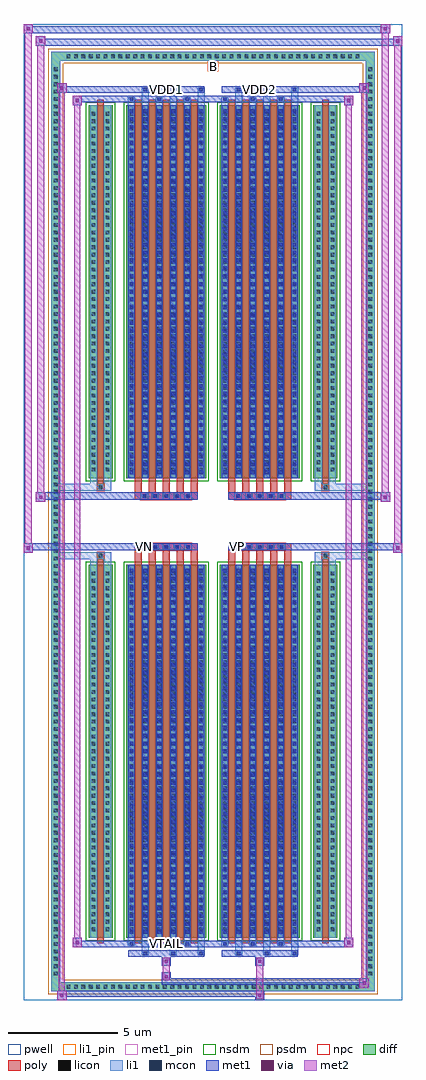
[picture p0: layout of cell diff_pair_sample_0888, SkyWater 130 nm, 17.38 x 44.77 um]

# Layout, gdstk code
import gdstk
lib = gdstk.Library(unit=1e-6, precision=5e-09)
def R(c, l, rs):  # rectangles x0, y0, x1, y1
    for r in rs: c.add(gdstk.rectangle(r[:2], r[2:], *l))
def A(c, l, x, y, w, h, nx, ny, dx, dy):  # array of equal rectangles
    R(c, l, [(x+i*dx, y+j*dy, x+i*dx+w, y+j*dy+h) for i in range(nx) for j in range(ny)])
def P(c, l, *ps):  # polygons
    for p in ps: c.add(gdstk.Polygon(p, *l))
pwell = (64, 44)
diff = (65, 20)
poly = (66, 20)
licon = (66, 44)
li1_pin = (67, 16)
li1 = (67, 20)
mcon = (67, 44)
met1_pin = (68, 16)
met1 = (68, 20)
via = (68, 44)
met2 = (69, 20)
nsdm = (93, 44)
psdm = (94, 20)
npc = (95, 20)

diff_pair_sample_0888 = lib.new_cell('diff_pair_sample_0888')
R(diff_pair_sample_0888, pwell, [(-8.69,-21.95,8.69,22.82), (-6.01,-20.14,-0.01,-0.8), (0.01,-20.14,6.01,-0.8), (-6.01,0.8,-0.01,20.14), (0.01,0.8,6.01,20.14)])
A(diff_pair_sample_0888, diff, -6.835, -21.55, 0.41, 0.41, 40, 2, 0.34, 42.69)
A(diff_pair_sample_0888, diff, -7.42, -20.945, 0.41, 0.41, 1, 123, 0, 0.34)
A(diff_pair_sample_0888, diff, 7.01, -20.945, 0.41, 0.41, 1, 123, 0, 0.34)
R(diff_pair_sample_0888, diff, [(-6.835,-21.55,6.835,-21.14), (-7.42,-20.945,-7.01,20.945), (7.01,-20.945,7.42,20.945), (-5.7,-19.095,-4.61,-1.985), (-3.97,-19.095,-0.32,-1.985), (0.32,-19.095,3.97,-1.985), (4.61,-19.095,5.7,-1.985), (-5.7,1.985,-4.61,19.095), (-3.97,1.985,-0.32,19.095), (0.32,1.985,3.97,19.095), (4.61,1.985,5.7,19.095), (-6.835,21.14,6.835,21.55)])
P(diff_pair_sample_0888, diff, [(7.42,21.55),(-7.42,21.55),(-7.42,-21.14),(-7.01,-21.14),(-7.01,21.14),(7.01,21.14),(7.01,-21.14),(-7.01,-21.14),(-7.42,-21.14),(-7.42,-21.55),(7.42,-21.55)])
A(diff_pair_sample_0888, poly, -3.58, -19.345, 0.31, 17.61, 5, 2, 0.64, 21.08)
A(diff_pair_sample_0888, poly, 0.71, -19.345, 0.31, 17.61, 5, 2, 0.64, 21.08)
A(diff_pair_sample_0888, poly, -3.58, -1.735, 0.31, 0.405, 5, 2, 0.64, 3.065)
A(diff_pair_sample_0888, poly, 0.71, -1.735, 0.31, 0.405, 5, 2, 0.64, 3.065)
A(diff_pair_sample_0888, poly, -3.31, -1.33, 0.33, 0.33, 5, 2, 0.5, 2.33)
A(diff_pair_sample_0888, poly, 0.98, -1.33, 0.33, 0.33, 5, 2, 0.5, 2.33)
R(diff_pair_sample_0888, poly, [(-5.31,-19.345,-5,-1.735), (5,-19.345,5.31,-1.735), (-5.32,-1.735,-4.99,-1.405), (-5.32,-1.735,-4.99,-1.405), (4.99,-1.735,5.32,-1.405), (4.99,-1.735,5.32,-1.405), (-3.58,-1.33,-0.71,-1), (0.71,-1.33,3.58,-1), (-3.58,1,-0.71,1.33), (0.71,1,3.58,1.33), (-5.32,1.405,-4.99,1.735), (-5.32,1.405,-4.99,1.735), (4.99,1.405,5.32,1.735), (4.99,1.405,5.32,1.735), (-5.31,1.735,-5,19.345), (5,1.735,5.31,19.345)])
A(diff_pair_sample_0888, licon, -6.715, -21.43, 0.17, 0.17, 40, 2, 0.34, 42.69)
A(diff_pair_sample_0888, licon, -7.3, -20.825, 0.17, 0.17, 1, 123, 0, 0.34)
A(diff_pair_sample_0888, licon, 7.13, -20.825, 0.17, 0.17, 1, 123, 0, 0.34)
A(diff_pair_sample_0888, licon, -5.56, -18.785, 0.17, 0.17, 1, 49, 0, 0.34)
A(diff_pair_sample_0888, licon, -4.92, -18.785, 0.17, 0.17, 1, 49, 0, 0.34)
A(diff_pair_sample_0888, licon, -3.83, -18.785, 0.17, 0.17, 6, 49, 0.64, 0.34)
A(diff_pair_sample_0888, licon, 0.46, -18.785, 0.17, 0.17, 6, 49, 0.64, 0.34)
A(diff_pair_sample_0888, licon, 4.75, -18.785, 0.17, 0.17, 1, 49, 0, 0.34)
A(diff_pair_sample_0888, licon, 5.39, -18.785, 0.17, 0.17, 1, 49, 0, 0.34)
A(diff_pair_sample_0888, licon, -3.23, -1.25, 0.17, 0.17, 5, 2, 0.5, 2.33)
A(diff_pair_sample_0888, licon, 1.06, -1.25, 0.17, 0.17, 5, 2, 0.5, 2.33)
A(diff_pair_sample_0888, licon, -5.56, 2.295, 0.17, 0.17, 1, 49, 0, 0.34)
A(diff_pair_sample_0888, licon, -4.92, 2.295, 0.17, 0.17, 1, 49, 0, 0.34)
A(diff_pair_sample_0888, licon, -3.83, 2.295, 0.17, 0.17, 6, 49, 0.64, 0.34)
A(diff_pair_sample_0888, licon, 0.46, 2.295, 0.17, 0.17, 6, 49, 0.64, 0.34)
A(diff_pair_sample_0888, licon, 4.75, 2.295, 0.17, 0.17, 1, 49, 0, 0.34)
A(diff_pair_sample_0888, licon, 5.39, 2.295, 0.17, 0.17, 1, 49, 0, 0.34)
R(diff_pair_sample_0888, licon, [(-5.24,-1.655,-5.07,-1.485), (5.07,-1.655,5.24,-1.485), (-5.24,1.485,-5.07,1.655), (5.07,1.485,5.24,1.655)])
R(diff_pair_sample_0888, li1_pin, [(-0.25,20.64,0.25,21.14)])
A(diff_pair_sample_0888, li1, -6.795, -21.51, 0.33, 0.33, 40, 2, 0.34, 42.69)
A(diff_pair_sample_0888, li1, -7.38, -20.905, 0.33, 0.33, 1, 123, 0, 0.34)
A(diff_pair_sample_0888, li1, 7.05, -20.905, 0.33, 0.33, 1, 123, 0, 0.34)
A(diff_pair_sample_0888, li1, -3.27, -19.9, 0.33, 0.805, 3, 2, 1.28, 38.995)
A(diff_pair_sample_0888, li1, -3.19, -19.9, 0.17, 0.17, 3, 2, 1.28, 39.63)
A(diff_pair_sample_0888, li1, 1.02, -19.9, 0.33, 0.805, 3, 2, 1.28, 38.995)
A(diff_pair_sample_0888, li1, 1.1, -19.9, 0.17, 0.17, 3, 2, 1.28, 39.63)
A(diff_pair_sample_0888, li1, -3.91, -19.47, 0.33, 0.375, 3, 2, 1.28, 38.565)
A(diff_pair_sample_0888, li1, -3.83, -19.47, 0.17, 0.17, 3, 2, 1.28, 38.77)
A(diff_pair_sample_0888, li1, 0.38, -19.47, 0.33, 0.375, 3, 2, 1.28, 38.565)
A(diff_pair_sample_0888, li1, 0.46, -19.47, 0.17, 0.17, 3, 2, 1.28, 38.77)
A(diff_pair_sample_0888, li1, -3.91, -19.095, 0.33, 17.11, 6, 2, 0.64, 21.08)
A(diff_pair_sample_0888, li1, 0.38, -19.095, 0.33, 17.11, 6, 2, 0.64, 21.08)
A(diff_pair_sample_0888, li1, -3.83, -18.905, 0.17, 0.17, 6, 47, 0.64, 0.36)
A(diff_pair_sample_0888, li1, -3.83, -18.905, 0.17, 16.73, 6, 2, 0.64, 21.08)
A(diff_pair_sample_0888, li1, 0.46, -18.905, 0.17, 0.17, 6, 47, 0.64, 0.36)
A(diff_pair_sample_0888, li1, 0.46, -18.905, 0.17, 16.73, 6, 2, 0.64, 21.08)
A(diff_pair_sample_0888, li1, -5.64, -18.865, 0.33, 0.33, 1, 49, 0, 0.34)
A(diff_pair_sample_0888, li1, -5, -18.865, 0.33, 0.33, 1, 49, 0, 0.34)
A(diff_pair_sample_0888, li1, -3.91, -18.865, 0.33, 0.33, 6, 49, 0.64, 0.34)
A(diff_pair_sample_0888, li1, 0.38, -18.865, 0.33, 0.33, 6, 49, 0.64, 0.34)
A(diff_pair_sample_0888, li1, 4.67, -18.865, 0.33, 0.33, 1, 49, 0, 0.34)
A(diff_pair_sample_0888, li1, 5.31, -18.865, 0.33, 0.33, 1, 49, 0, 0.34)
A(diff_pair_sample_0888, li1, -3.31, -1.33, 0.33, 0.33, 5, 2, 0.5, 2.33)
A(diff_pair_sample_0888, li1, 0.98, -1.33, 0.33, 0.33, 5, 2, 0.5, 2.33)
A(diff_pair_sample_0888, li1, -3.83, 2.175, 0.17, 0.17, 6, 47, 0.64, 0.36)
A(diff_pair_sample_0888, li1, 0.46, 2.175, 0.17, 0.17, 6, 47, 0.64, 0.36)
A(diff_pair_sample_0888, li1, -5.64, 2.215, 0.33, 0.33, 1, 49, 0, 0.34)
A(diff_pair_sample_0888, li1, -5, 2.215, 0.33, 0.33, 1, 49, 0, 0.34)
A(diff_pair_sample_0888, li1, -3.91, 2.215, 0.33, 0.33, 6, 49, 0.64, 0.34)
A(diff_pair_sample_0888, li1, 0.38, 2.215, 0.33, 0.33, 6, 49, 0.64, 0.34)
A(diff_pair_sample_0888, li1, 4.67, 2.215, 0.33, 0.33, 1, 49, 0, 0.34)
A(diff_pair_sample_0888, li1, 5.31, 2.215, 0.33, 0.33, 1, 49, 0, 0.34)
R(diff_pair_sample_0888, li1, [(-7.42,-21.55,-7.01,-21.14), (-7.42,-21.55,-7.01,-21.14), (-7.01,-21.55,7.01,-21.14), (7.01,-21.55,7.42,-21.14), (7.01,-21.55,7.42,-21.14), (-7.42,-21.14,-7.01,21.14), (7.01,-21.14,7.42,21.14), (-5.64,-19.095,-5.31,-1.985), (-5,-19.095,-4.67,-1.985), (4.67,-19.095,5,-1.985), (5.31,-19.095,5.64,-1.985), (-5.64,-1.985,-5.31,-1.405), (-5,-1.985,-4.67,-1.405), (4.67,-1.985,5,-1.405), (5.31,-1.985,5.64,-1.405), (-7.42,-1.735,-5.32,-1.405), (-5.64,-1.735,-5.32,-1.405), (-5.32,-1.735,-4.99,-1.405), (-4.99,-1.735,-4.67,-1.405), (4.67,-1.735,4.99,-1.405), (4.99,-1.735,5.32,-1.405), (4.99,-1.735,7.42,-1.405), (5.32,-1.735,5.64,-1.405), (-7.42,1.405,-5.32,1.735), (-5.64,1.405,-5.32,1.735), (-5.64,1.405,-5.31,1.985), (-5.32,1.405,-4.99,1.735), (-5,1.405,-4.67,1.985), (-4.99,1.405,-4.67,1.735), (4.67,1.405,4.99,1.735), (4.67,1.405,5,1.985), (4.99,1.405,5.32,1.735), (4.99,1.405,7.42,1.735), (5.31,1.405,5.64,1.985), (5.32,1.405,5.64,1.735), (-5.64,1.985,-5.31,19.095), (-5,1.985,-4.67,19.095), (4.67,1.985,5,19.095), (5.31,1.985,5.64,19.095), (-7.42,21.14,-7.01,21.55), (-7.42,21.14,-7.01,21.55), (-7.01,21.14,7.01,21.55), (7.01,21.14,7.42,21.55), (7.01,21.14,7.42,21.55)])
A(diff_pair_sample_0888, mcon, -3.19, -19.9, 0.17, 0.17, 3, 2, 1.28, 39.63)
A(diff_pair_sample_0888, mcon, 1.1, -19.9, 0.17, 0.17, 3, 2, 1.28, 39.63)
A(diff_pair_sample_0888, mcon, -3.83, -19.47, 0.17, 0.17, 3, 2, 1.28, 38.77)
A(diff_pair_sample_0888, mcon, 0.46, -19.47, 0.17, 0.17, 3, 2, 1.28, 38.77)
A(diff_pair_sample_0888, mcon, -3.83, -18.905, 0.17, 0.17, 6, 47, 0.64, 0.36)
A(diff_pair_sample_0888, mcon, 0.46, -18.905, 0.17, 0.17, 6, 47, 0.64, 0.36)
A(diff_pair_sample_0888, mcon, -3.23, -1.25, 0.17, 0.17, 5, 2, 0.5, 2.33)
A(diff_pair_sample_0888, mcon, 1.06, -1.25, 0.17, 0.17, 5, 2, 0.5, 2.33)
A(diff_pair_sample_0888, mcon, -3.83, 2.175, 0.17, 0.17, 6, 47, 0.64, 0.36)
A(diff_pair_sample_0888, mcon, 0.46, 2.175, 0.17, 0.17, 6, 47, 0.64, 0.36)
R(diff_pair_sample_0888, met1_pin, [(-2.28,-19.51,-2.01,-19.24), (-3.28,-1.29,-3.01,-1.02), (1.01,-1.29,1.28,-1.02), (-2.28,19.69,-2.01,19.96), (2.01,19.69,2.28,19.96)])
A(diff_pair_sample_0888, met1, -3.25, -19.96, 0.29, 0.29, 3, 2, 1.28, 39.63)
A(diff_pair_sample_0888, met1, 1.04, -19.96, 0.29, 0.29, 3, 2, 1.28, 39.63)
A(diff_pair_sample_0888, met1, -3.89, -19.53, 0.29, 0.29, 3, 2, 1.28, 38.77)
A(diff_pair_sample_0888, met1, 0.4, -19.53, 0.29, 0.29, 3, 2, 1.28, 38.77)
A(diff_pair_sample_0888, met1, -3.89, -19.095, 0.29, 17.11, 6, 2, 0.64, 21.08)
A(diff_pair_sample_0888, met1, 0.4, -19.095, 0.29, 17.11, 6, 2, 0.64, 21.08)
A(diff_pair_sample_0888, met1, -3.89, -18.965, 0.29, 0.29, 6, 47, 0.64, 0.36)
A(diff_pair_sample_0888, met1, 0.4, -18.965, 0.29, 0.29, 6, 47, 0.64, 0.36)
A(diff_pair_sample_0888, met1, -3.29, -1.31, 0.29, 0.29, 5, 2, 0.5, 2.33)
A(diff_pair_sample_0888, met1, 1, -1.31, 0.29, 0.29, 5, 2, 0.5, 2.33)
A(diff_pair_sample_0888, met1, -3.89, 2.115, 0.29, 0.29, 6, 47, 0.64, 0.36)
A(diff_pair_sample_0888, met1, 0.4, 2.115, 0.29, 0.29, 6, 47, 0.64, 0.36)
R(diff_pair_sample_0888, met1, [(-7.15,-21.95,-6.72,-21.52), (1.93,-21.95,2.36,-21.52), (-7.15,-21.81,2.36,-21.52), (6.72,-21.38,7.15,-20.95), (-2.36,-21.24,7.15,-20.95), (-2.36,-21.1,-1.93,-20.67), (-2.36,-20.39,-1.93,-19.96), (1.93,-20.39,2.36,-19.96), (-3.89,-19.96,-0.4,-19.67), (0.4,-19.96,3.89,-19.67), (-6.44,-19.53,-6.01,-19.1), (-6.44,-19.53,-3.89,-19.24), (-3.89,-19.53,-0.4,-19.24), (-0.4,-19.53,0.4,-19.24), (0.4,-19.53,3.89,-19.24), (3.89,-19.53,6.44,-19.24), (6.01,-19.53,6.44,-19.1), (-8.69,-1.43,-8.26,-1), (8.26,-1.43,8.69,-1), (-8.69,-1.33,-0.71,-1), (-3.58,-1.33,-0.71,-1), (0.71,-1.33,3.58,-1), (0.71,-1.33,8.69,-1), (-8.12,0.9,-7.69,1.33), (7.69,0.9,8.12,1.33), (-8.12,1,-3.58,1.33), (-3.58,1,-0.71,1.33), (0.71,1,3.58,1.33), (3.58,1,8.12,1.33), (-6.44,19.1,-6.01,19.53), (6.01,19.1,6.44,19.53), (-6.44,19.24,-3.89,19.53), (-3.89,19.24,-0.4,19.53), (-0.4,19.24,0.4,19.53), (0.4,19.24,3.89,19.53), (3.89,19.24,6.44,19.53), (-7.15,19.67,-6.72,20.1), (-7.15,19.67,-3.89,19.96), (-3.89,19.67,-0.4,19.96), (0.4,19.67,3.89,19.96), (3.89,19.67,7.15,19.96), (6.72,19.67,7.15,20.1), (-8.12,21.82,-7.69,22.25), (-8.12,21.82,-6.01,22.15), (-6.01,21.82,6.01,22.15), (6.01,21.82,8.69,22.15), (8.26,21.82,8.69,22.25), (-8.69,22.39,-8.26,22.82), (-8.69,22.39,-6.01,22.72), (-6.01,22.39,6.01,22.72), (6.01,22.39,8.12,22.72), (7.69,22.39,8.12,22.82)])
R(diff_pair_sample_0888, via, [(-7.01,-21.81,-6.86,-21.66), (2.07,-21.81,2.22,-21.66), (6.86,-21.24,7.01,-21.09), (-2.22,-20.96,-2.07,-20.81), (-2.22,-20.25,-2.07,-20.1), (2.07,-20.25,2.22,-20.1), (-6.3,-19.39,-6.15,-19.24), (6.15,-19.39,6.3,-19.24), (-8.55,-1.29,-8.4,-1.14), (8.4,-1.29,8.55,-1.14), (-7.98,1.04,-7.83,1.19), (7.83,1.04,7.98,1.19), (-6.3,19.24,-6.15,19.39), (6.15,19.24,6.3,19.39), (-7.01,19.81,-6.86,19.96), (6.86,19.81,7.01,19.96), (-7.98,21.96,-7.83,22.11), (8.4,21.96,8.55,22.11), (-8.55,22.53,-8.4,22.68), (7.83,22.53,7.98,22.68)])
R(diff_pair_sample_0888, met2, [(-7.15,-21.95,-6.72,-21.52), (-7.08,-21.95,-6.79,20.1), (-6.79,-21.95,-6.72,-21.52), (-7.1,-21.9,-6.77,-21.57), (1.98,-21.9,2.31,-21.57), (1.98,-21.57,2.31,-20.34), (6.72,-21.38,7.15,-20.95), (6.79,-21.38,7.08,20.1), (7.08,-21.38,7.15,-20.95), (6.77,-21.33,7.1,-21), (-2.31,-21.05,-1.98,-20.72), (-2.31,-20.72,-1.98,-20.34), (-2.31,-20.34,-1.98,-20.01), (1.98,-20.34,2.31,-20.01), (-6.44,-19.53,-6.01,-19.1), (-6.37,-19.53,-6.08,19.53), (-6.08,-19.53,-6.01,-19.1), (6.01,-19.53,6.44,-19.1), (6.08,-19.53,6.37,19.53), (6.37,-19.53,6.44,-19.1), (-6.39,-19.48,-6.06,-19.15), (6.06,-19.48,6.39,-19.15), (-8.69,-1.43,-8.26,-1), (-8.64,-1.43,-8.31,22.82), (-8.31,-1.43,-8.26,-1), (8.26,-1.43,8.69,-1), (8.31,-1.43,8.64,22.25), (8.64,-1.43,8.69,-1), (-8.64,-1.38,-8.31,-1.05), (8.31,-1.38,8.64,-1.05), (-8.12,0.9,-7.69,1.33), (-8.07,0.9,-7.74,22.25), (-7.74,0.9,-7.69,1.33), (7.69,0.9,8.12,1.33), (7.74,0.9,8.07,22.82), (8.07,0.9,8.12,1.33), (-8.07,0.95,-7.74,1.28), (7.74,0.95,8.07,1.28), (-6.44,19.1,-6.01,19.53), (-6.08,19.1,-6.01,19.53), (6.01,19.1,6.44,19.53), (6.37,19.1,6.44,19.53), (-6.39,19.15,-6.06,19.48), (6.06,19.15,6.39,19.48), (-7.15,19.67,-6.72,20.1), (-6.79,19.67,-6.72,20.1), (6.72,19.67,7.15,20.1), (7.08,19.67,7.15,20.1), (-7.1,19.72,-6.77,20.05), (6.77,19.72,7.1,20.05), (-8.12,21.82,-7.69,22.25), (-7.74,21.82,-7.69,22.25), (8.26,21.82,8.69,22.25), (8.64,21.82,8.69,22.25), (-8.07,21.87,-7.74,22.2), (8.31,21.87,8.64,22.2), (-8.69,22.39,-8.26,22.82), (-8.31,22.39,-8.26,22.82), (7.69,22.39,8.12,22.82), (8.07,22.39,8.12,22.82), (-8.64,22.44,-8.31,22.77), (7.74,22.44,8.07,22.77)])
R(diff_pair_sample_0888, nsdm, [(-5.83,-19.225,-4.48,-1.855), (-4.1,-19.225,-0.19,-1.855), (0.19,-19.225,4.1,-1.855), (4.48,-19.225,5.83,-1.855), (-5.83,1.855,-4.48,19.225), (-4.1,1.855,-0.19,19.225), (0.19,1.855,4.1,19.225), (4.48,1.855,5.83,19.225)])
P(diff_pair_sample_0888, psdm, [(7.55,21.68),(-7.55,21.68),(-7.55,-21.01),(-6.88,-21.01),(-6.88,21.01),(6.88,21.01),(6.88,-21.01),(-6.88,-21.01),(-7.55,-21.01),(-7.55,-21.68),(7.55,-21.68)])
A(diff_pair_sample_0888, npc, -3.33, -1.35, 0.37, 0.37, 5, 2, 0.5, 2.33)
A(diff_pair_sample_0888, npc, 0.96, -1.35, 0.37, 0.37, 5, 2, 0.5, 2.33)
R(diff_pair_sample_0888, npc, [(-5.34,-1.755,-4.97,-1.385), (4.97,-1.755,5.34,-1.385), (-3.33,-1.35,-2.46,-0.98), (-3.33,-1.35,-2.46,-0.98), (-2.83,-1.35,-1.96,-0.98), (-2.83,-1.35,-1.96,-0.98), (-2.33,-1.35,-1.46,-0.98), (-2.33,-1.35,-1.46,-0.98), (-1.83,-1.35,-0.96,-0.98), (-1.83,-1.35,-0.96,-0.98), (0.96,-1.35,1.83,-0.98), (0.96,-1.35,1.83,-0.98), (1.46,-1.35,2.33,-0.98), (1.46,-1.35,2.33,-0.98), (1.96,-1.35,2.83,-0.98), (1.96,-1.35,2.83,-0.98), (2.46,-1.35,3.33,-0.98), (2.46,-1.35,3.33,-0.98), (-3.33,0.98,-2.46,1.35), (-3.33,0.98,-2.46,1.35), (-2.83,0.98,-1.96,1.35), (-2.83,0.98,-1.96,1.35), (-2.33,0.98,-1.46,1.35), (-2.33,0.98,-1.46,1.35), (-1.83,0.98,-0.96,1.35), (-1.83,0.98,-0.96,1.35), (0.96,0.98,1.83,1.35), (0.96,0.98,1.83,1.35), (1.46,0.98,2.33,1.35), (1.46,0.98,2.33,1.35), (1.96,0.98,2.83,1.35), (1.96,0.98,2.83,1.35), (2.46,0.98,3.33,1.35), (2.46,0.98,3.33,1.35), (-5.34,1.385,-4.97,1.755), (4.97,1.385,5.34,1.755)])
diff_pair_sample_0888.add(gdstk.Label('VTAIL', (-2.145,-19.375), layer=68, texttype=5))
diff_pair_sample_0888.add(gdstk.Label('VN', (-3.145,-1.155), layer=68, texttype=5))
diff_pair_sample_0888.add(gdstk.Label('VP', (1.145,-1.155), layer=68, texttype=5))
diff_pair_sample_0888.add(gdstk.Label('B', (0,20.89), layer=67, texttype=5))
diff_pair_sample_0888.add(gdstk.Label('VDD2', (2.145,19.825), layer=68, texttype=5))
diff_pair_sample_0888.add(gdstk.Label('VDD1', (-2.145,19.825), layer=68, texttype=5))

lib.write_gds('diff_pair_sample_0888.gds')
